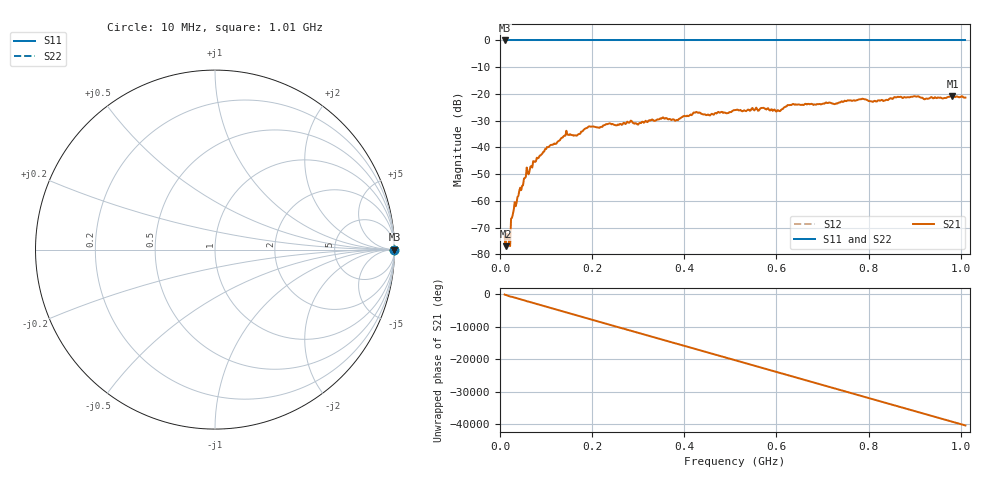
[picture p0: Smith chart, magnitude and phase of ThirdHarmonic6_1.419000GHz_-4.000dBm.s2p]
! 8/16/2025 4:18:13 PM
! C:\ANRITSUVNA\TEMP\TEMP.S2P
! CHANNEL.1
! TR.MEASUREMENT
! RAW.DATA
! RF.CORRECTION.OFF
! AVERAGING.OFF
! IF.BANDWIDTH: 5KHZ
! SWEEPTYPE:  FREQ.SWEEP(Linear)
! Reference Plane Port Info
! PORT:  PORT1  PORT2
! DISTANCE:  0  m  0  m
! TIME:  0  s  0  s
! PHASE.OFFSET:  0  deg.  0  deg.
! LOSS:  0  dB  0  dB
! REF.LOSS:  0  dB  0  dB
! REF.FREQ:  0  Hz  0  Hz
! Power Info
! POWER:  -20  dBm  -20  dBm
! EFF.POWER:  -20  dBm  -20  dBm
! SOURCE.ATTEN:  0  dB  0  dB
! TEST.ATTEN:  0  dB  0  dB
# GHZ S RI R 50.0
! FREQ.GHZ  S11RE  S11IM  S21RE  S21IM  S12RE  S12IM  S22RE  S22IM
!; PortSelection: Port_12
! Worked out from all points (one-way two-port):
!   501 points, 10 MHz to 1.01 GHz, reference 50 ohm
!   highest |S21| = -20.71 dB at 982 MHz (marker M1); lowest = -76.9 dB at 12 MHz (marker M2)
!   lowest |S11| = 0.0 dB at 10 MHz (marker M3)
!   |S11| at or under -10 dB: nowhere
!   |S22| runs from 0.0 to 0.0 dB; largest |S21 - S12| = 1.1
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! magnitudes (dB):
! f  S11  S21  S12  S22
! 10 MHz  0.0  -73.3  0.0  0.0
! 12 MHz  0.0  -76.9  0.0  0.0
! 18 MHz  0.0  -72.4  0.0  0.0
! 24 MHz  0.0  -66.6  0.0  0.0
! 28 MHz  0.0  -64.9  0.0  0.0
! 56 MHz  0.0  -51.0  0.0  0.0
! 76 MHz  0.0  -45.5  0.0  0.0
! 142 MHz  0.0  -35.6  0.0  0.0
! 164 MHz  0.0  -35.5  0.0  0.0
! 178 MHz  0.0  -34.0  0.0  0.0
! 196 MHz  0.0  -32.2  0.0  0.0
! 344 MHz  0.0  -29.6  0.0  0.0
! 384 MHz  0.0  -29.7  0.0  0.0
! 424 MHz  0.0  -27.0  0.0  0.0
! 452 MHz  0.0  -27.7  0.0  0.0
! 510 MHz  0.0  -26.1  0.0  0.0
! 604 MHz  0.0  -26.1  0.0  0.0
! 632 MHz  0.0  -24.2  0.0  0.0
! 678 MHz  0.0  -23.8  0.0  0.0
! 844 MHz  0.0  -22.0  0.0  0.0
! 982 MHz  0.0  -20.7  0.0  0.0
! 1.01 GHz  0.0  -21.4  0.0  0.0
